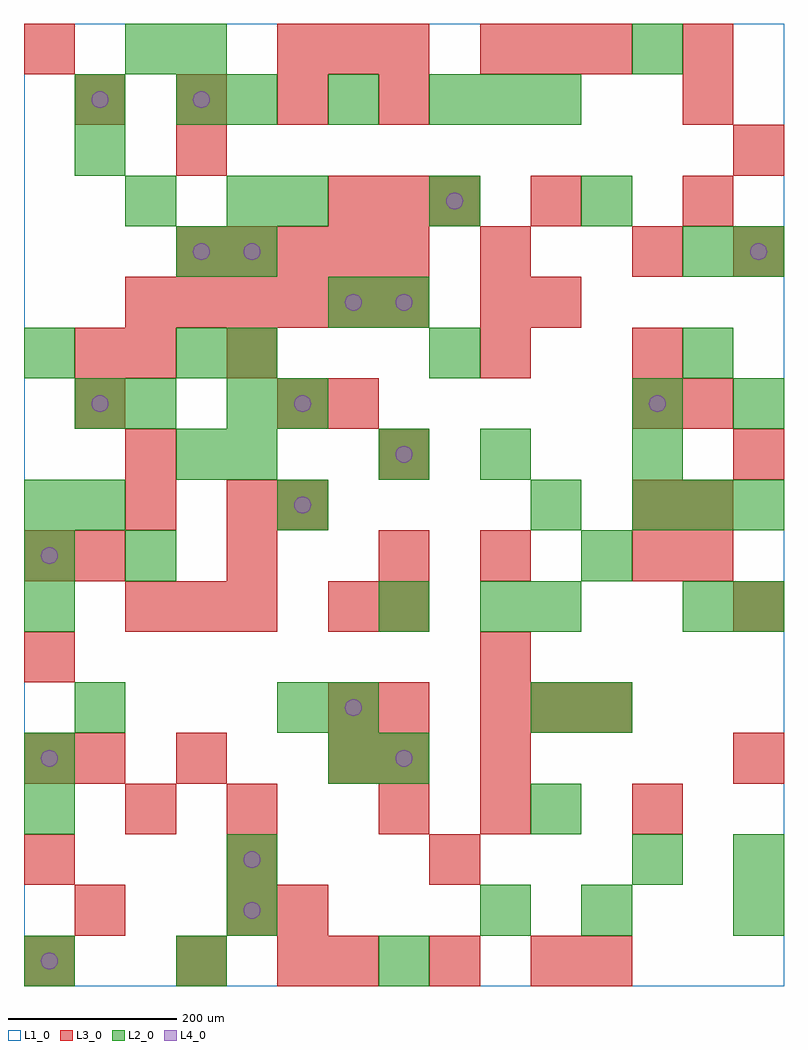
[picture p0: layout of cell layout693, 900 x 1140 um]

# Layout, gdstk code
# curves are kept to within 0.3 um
import gdstk
lib = gdstk.Library(unit=1e-6, precision=1e-09)
def R(c, l, rs):  # rectangles x0, y0, x1, y1
    for r in rs: c.add(gdstk.rectangle(r[:2], r[2:], *l))
def A(c, l, x, y, w, h, nx, ny, dx, dy):  # array of equal rectangles
    R(c, l, [(x+i*dx, y+j*dy, x+i*dx+w, y+j*dy+h) for i in range(nx) for j in range(ny)])
def P(c, l, *ps):  # polygons
    for p in ps: c.add(gdstk.Polygon(p, *l))
L1_0 = (1, 0)
L2_0 = (2, 0)
L3_0 = (3, 0)
L4_0 = (4, 0)

layout693 = lib.new_cell('layout693')
R(layout693, L1_0, [(0,0,900,1140)])
A(layout693, L2_0, 600, 180, 60, 60, 1, 4, 0, 120)
A(layout693, L2_0, 420, 240, 60, 60, 1, 4, 0, 180)
A(layout693, L2_0, 0, 420, 60, 60, 1, 3, 0, 60)
A(layout693, L2_0, 720, 540, 60, 60, 3, 1, 60, 0)
A(layout693, L2_0, 180, 600, 60, 60, 1, 3, 0, 120)
A(layout693, L2_0, 240, 600, 60, 60, 1, 3, 0, 60)
A(layout693, L2_0, 300, 900, 60, 60, 3, 1, 180, 0)
A(layout693, L2_0, 240, 1020, 60, 60, 3, 1, 120, 0)
R(layout693, L2_0, [(0,0,60,60), (180,0,240,60), (420,0,480,60), (240,60,300,120), (540,60,600,120), (660,60,720,120), (840,60,900,120), (240,120,300,180), (720,120,780,180), (840,120,900,180), (0,180,60,240), (0,240,60,300), (360,240,420,300), (60,300,120,360), (300,300,360,360), (360,300,420,360), (660,300,720,360), (540,420,600,480), (780,420,840,480), (840,420,900,480), (120,480,180,540), (660,480,720,540), (60,540,120,600), (300,540,360,600), (540,600,600,660), (720,600,780,660), (60,660,120,720), (120,660,180,720), (300,660,360,720), (720,660,780,720), (840,660,900,720), (0,720,60,780), (480,720,540,780), (780,720,840,780), (360,780,420,840), (240,840,300,900), (780,840,840,900), (840,840,900,900), (120,900,180,960), (240,900,300,960), (60,960,120,1020), (60,1020,120,1080), (180,1020,240,1080), (540,1020,600,1080), (600,1020,660,1080), (120,1080,180,1140), (180,1080,240,1140), (720,1080,780,1140)])
A(layout693, L3_0, 360, 0, 60, 60, 3, 1, 120, 0)
A(layout693, L3_0, 0, 120, 60, 60, 3, 1, 240, 0)
A(layout693, L3_0, 420, 180, 60, 60, 1, 3, 0, 60)
A(layout693, L3_0, 0, 240, 60, 60, 1, 3, 0, 120)
A(layout693, L3_0, 540, 240, 60, 60, 1, 3, 0, 120)
A(layout693, L3_0, 840, 240, 60, 60, 1, 3, 0, 180)
A(layout693, L3_0, 540, 300, 60, 60, 3, 2, 60, 780)
A(layout693, L3_0, 120, 420, 60, 60, 3, 1, 60, 0)
A(layout693, L3_0, 60, 480, 60, 60, 3, 1, 180, 0)
A(layout693, L3_0, 540, 720, 60, 60, 1, 3, 0, 60)
A(layout693, L3_0, 120, 780, 60, 60, 6, 1, 60, 0)
A(layout693, L3_0, 180, 840, 60, 60, 5, 1, 60, 0)
A(layout693, L3_0, 360, 900, 60, 60, 3, 1, 60, 0)
A(layout693, L3_0, 60, 1020, 60, 60, 4, 1, 120, 0)
A(layout693, L3_0, 300, 1080, 60, 60, 3, 1, 60, 0)
R(layout693, L3_0, [(0,0,60,60), (180,0,240,60), (300,0,360,60), (660,0,720,60), (60,60,120,120), (240,60,300,120), (300,60,360,120), (120,180,180,240), (240,180,300,240), (540,180,600,240), (720,180,780,240), (60,240,120,300), (180,240,240,300), (360,240,420,300), (360,300,420,360), (360,420,420,480), (420,420,480,480), (720,480,780,540), (780,480,840,540), (120,540,180,600), (240,540,300,600), (300,540,360,600), (720,540,780,600), (780,540,840,600), (120,600,180,660), (420,600,480,660), (60,660,120,720), (300,660,360,720), (360,660,420,720), (720,660,780,720), (780,660,840,720), (60,720,120,780), (120,720,180,780), (240,720,300,780), (720,720,780,780), (600,780,660,840), (720,840,780,900), (840,840,900,900), (600,900,660,960), (780,900,840,960), (180,960,240,1020), (840,960,900,1020), (780,1020,840,1080), (0,1080,60,1140), (780,1080,840,1140)])
P(layout693, L4_0, [(40,30),(39.239,33.827),(37.071,37.071),(33.827,39.239),(30,40),(26.173,39.239),(22.929,37.071),(20.761,33.827),(20,30),(20.761,26.173),(22.929,22.929),(26.173,20.761),(30,20),(33.827,20.761),(37.071,22.929),(39.239,26.173)],
  [(40,270),(39.239,273.827),(37.071,277.071),(33.827,279.239),(30,280),(26.173,279.239),(22.929,277.071),(20.761,273.827),(20,270),(20.761,266.173),(22.929,262.929),(26.173,260.761),(30,260),(33.827,260.761),(37.071,262.929),(39.239,266.173)],
  [(40,510),(39.239,513.827),(37.071,517.071),(33.827,519.239),(30,520),(26.173,519.239),(22.929,517.071),(20.761,513.827),(20,510),(20.761,506.173),(22.929,502.929),(26.173,500.761),(30,500),(33.827,500.761),(37.071,502.929),(39.239,506.173)],
  [(100,690),(99.239,693.827),(97.071,697.071),(93.827,699.239),(90,700),(86.173,699.239),(82.929,697.071),(80.761,693.827),(80,690),(80.761,686.173),(82.929,682.929),(86.173,680.761),(90,680),(93.827,680.761),(97.071,682.929),(99.239,686.173)],
  [(100,1050),(99.239,1053.827),(97.071,1057.071),(93.827,1059.239),(90,1060),(86.173,1059.239),(82.929,1057.071),(80.761,1053.827),(80,1050),(80.761,1046.173),(82.929,1042.929),(86.173,1040.761),(90,1040),(93.827,1040.761),(97.071,1042.929),(99.239,1046.173)],
  [(220,870),(219.239,873.827),(217.071,877.071),(213.827,879.239),(210,880),(206.173,879.239),(202.929,877.071),(200.761,873.827),(200,870),(200.761,866.173),(202.929,862.929),(206.173,860.761),(210,860),(213.827,860.761),(217.071,862.929),(219.239,866.173)],
  [(220,1050),(219.239,1053.827),(217.071,1057.071),(213.827,1059.239),(210,1060),(206.173,1059.239),(202.929,1057.071),(200.761,1053.827),(200,1050),(200.761,1046.173),(202.929,1042.929),(206.173,1040.761),(210,1040),(213.827,1040.761),(217.071,1042.929),(219.239,1046.173)],
  [(280,90),(279.239,93.827),(277.071,97.071),(273.827,99.239),(270,100),(266.173,99.239),(262.929,97.071),(260.761,93.827),(260,90),(260.761,86.173),(262.929,82.929),(266.173,80.761),(270,80),(273.827,80.761),(277.071,82.929),(279.239,86.173)],
  [(280,150),(279.239,153.827),(277.071,157.071),(273.827,159.239),(270,160),(266.173,159.239),(262.929,157.071),(260.761,153.827),(260,150),(260.761,146.173),(262.929,142.929),(266.173,140.761),(270,140),(273.827,140.761),(277.071,142.929),(279.239,146.173)],
  [(280,870),(279.239,873.827),(277.071,877.071),(273.827,879.239),(270,880),(266.173,879.239),(262.929,877.071),(260.761,873.827),(260,870),(260.761,866.173),(262.929,862.929),(266.173,860.761),(270,860),(273.827,860.761),(277.071,862.929),(279.239,866.173)],
  [(340,570),(339.239,573.827),(337.071,577.071),(333.827,579.239),(330,580),(326.173,579.239),(322.929,577.071),(320.761,573.827),(320,570),(320.761,566.173),(322.929,562.929),(326.173,560.761),(330,560),(333.827,560.761),(337.071,562.929),(339.239,566.173)],
  [(340,690),(339.239,693.827),(337.071,697.071),(333.827,699.239),(330,700),(326.173,699.239),(322.929,697.071),(320.761,693.827),(320,690),(320.761,686.173),(322.929,682.929),(326.173,680.761),(330,680),(333.827,680.761),(337.071,682.929),(339.239,686.173)],
  [(400,330),(399.239,333.827),(397.071,337.071),(393.827,339.239),(390,340),(386.173,339.239),(382.929,337.071),(380.761,333.827),(380,330),(380.761,326.173),(382.929,322.929),(386.173,320.761),(390,320),(393.827,320.761),(397.071,322.929),(399.239,326.173)],
  [(400,810),(399.239,813.827),(397.071,817.071),(393.827,819.239),(390,820),(386.173,819.239),(382.929,817.071),(380.761,813.827),(380,810),(380.761,806.173),(382.929,802.929),(386.173,800.761),(390,800),(393.827,800.761),(397.071,802.929),(399.239,806.173)],
  [(460,270),(459.239,273.827),(457.071,277.071),(453.827,279.239),(450,280),(446.173,279.239),(442.929,277.071),(440.761,273.827),(440,270),(440.761,266.173),(442.929,262.929),(446.173,260.761),(450,260),(453.827,260.761),(457.071,262.929),(459.239,266.173)],
  [(460,630),(459.239,633.827),(457.071,637.071),(453.827,639.239),(450,640),(446.173,639.239),(442.929,637.071),(440.761,633.827),(440,630),(440.761,626.173),(442.929,622.929),(446.173,620.761),(450,620),(453.827,620.761),(457.071,622.929),(459.239,626.173)],
  [(460,810),(459.239,813.827),(457.071,817.071),(453.827,819.239),(450,820),(446.173,819.239),(442.929,817.071),(440.761,813.827),(440,810),(440.761,806.173),(442.929,802.929),(446.173,800.761),(450,800),(453.827,800.761),(457.071,802.929),(459.239,806.173)],
  [(520,930),(519.239,933.827),(517.071,937.071),(513.827,939.239),(510,940),(506.173,939.239),(502.929,937.071),(500.761,933.827),(500,930),(500.761,926.173),(502.929,922.929),(506.173,920.761),(510,920),(513.827,920.761),(517.071,922.929),(519.239,926.173)],
  [(760,690),(759.239,693.827),(757.071,697.071),(753.827,699.239),(750,700),(746.173,699.239),(742.929,697.071),(740.761,693.827),(740,690),(740.761,686.173),(742.929,682.929),(746.173,680.761),(750,680),(753.827,680.761),(757.071,682.929),(759.239,686.173)],
  [(880,870),(879.239,873.827),(877.071,877.071),(873.827,879.239),(870,880),(866.173,879.239),(862.929,877.071),(860.761,873.827),(860,870),(860.761,866.173),(862.929,862.929),(866.173,860.761),(870,860),(873.827,860.761),(877.071,862.929),(879.239,866.173)])

lib.write_gds('layout693.gds')
